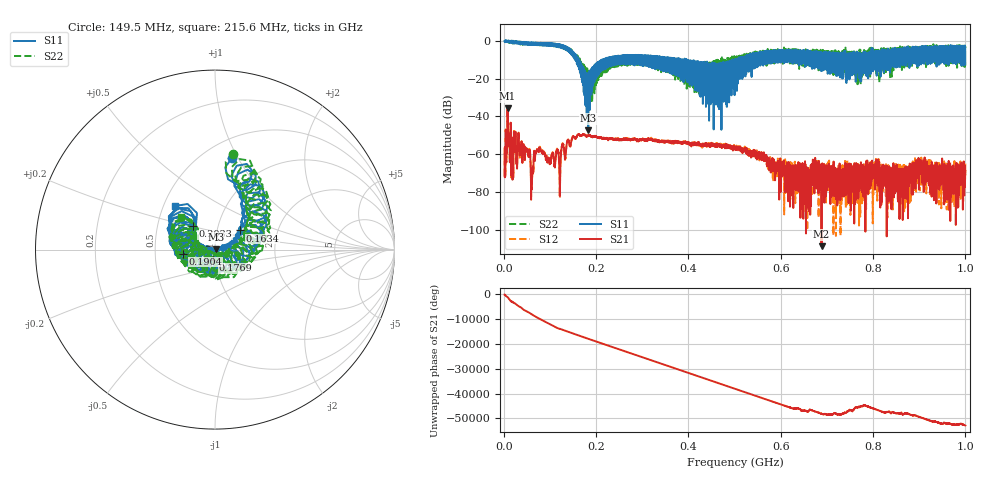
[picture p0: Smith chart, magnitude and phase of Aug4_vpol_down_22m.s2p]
!Keysight Technologies N9923A: A.12.45
!Date: Tuesday, 05 August 2025 20:46:24
!Timezone: (UTC+08:00) Kuala Lumpur, Singapore
!Model: N9923A
!Serial: MY61181427
!GPS Latitude:
!GPS Longitude:
!GPS TimeStamp: 0001-01-01 00:00:00Z
!GPS Seconds Since Last Read: 0
!CHECKSUM:1327605642
!Correction: S11(ON U)S21(ON U)S12(ON U)S22(ON U)
!S2P File: Measurements:S11,S21,S12,S22:
# Hz S DB R 50
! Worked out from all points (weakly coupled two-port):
!   4001 points, 2 MHz to 1 GHz, reference 50 ohm
!   highest |S21| = -35.68 dB at 8.487 MHz (marker M1); lowest = -108.6 dB at 688.4 MHz (marker M2)
!   lowest |S11| = -47.3 dB at 183.1 MHz (marker M3), VSWR 1.01, Z = 50.4 + j0.0866 ohm
!   |S11| at or under -10 dB: 162.8 MHz to 212.3 MHz (49.51 MHz wide, 26.4 % of centre); 395.5 MHz to 494 MHz (98.49 MHz wide, 22.1 % of centre); 495.8 MHz to 500.7 MHz (4.922 MHz wide, 0.988 % of centre)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
!   |S22| runs from -35.6 to 0.1 dB; largest |S21 - S12| = 0.00099
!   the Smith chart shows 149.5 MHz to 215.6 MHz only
!   S11 on the Smith chart (normalised r, x): 149.5 MHz: 0.68, +0.94; 163.4 MHz: 1.29, +0.28; 176.9 MHz: 0.97, -0.11; 190.4 MHz: 0.70, -0.03; 203.3 MHz: 0.75, +0.20; 215.6 MHz: 0.57, +0.31
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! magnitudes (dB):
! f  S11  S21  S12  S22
! 2 MHz  -0.1  -71.6  -71.2  -0.1
! 8.487 MHz  -0.1  -35.7  -35.7  -0.3
! 52.15 MHz  -0.8  -58.0  -57.7  -1.2
! 62.88 MHz  -2.1  -70.4  -67.6  -2.2
! 73.61 MHz  -1.3  -57.7  -57.3  -1.4
! 120.3 MHz  -3.0  -64.8  -63.3  -3.3
! 149.5 MHz  -5.7  -51.0  -50.8  -5.3
! 163.4 MHz  -15.1  -49.6  -49.6  -12.7
! 168.4 MHz  -19.5  -50.1  -50.0  -15.7
! 176.9 MHz  -24.8  -50.0  -50.1  -25.3
! 183.1 MHz  -47.3  -50.3  -50.2  -22.1
! 190.4 MHz  -14.9  -50.8  -50.5  -17.9
! 203.3 MHz  -14.9  -50.9  -51.2  -20.4
! 215.6 MHz  -9.7  -51.9  -51.5  -11.6
! 334.8 MHz  -8.4  -53.1  -53.1  -10.2
! 501 MHz  -10.1  -56.0  -55.9  -9.1
! 645.7 MHz  -6.6  -69.9  -73.9  -5.4
! 667.4 MHz  -6.0  -65.5  -67.6  -6.8
! 688.4 MHz  -16.0  -108.6  -67.9  -8.1
! 833.8 MHz  -6.2  -69.9  -69.7  -13.9
! 900.4 MHz  -9.7  -64.2  -62.8  -3.8
! 1 GHz  -12.5  -68.8  -64.5  -4.0
